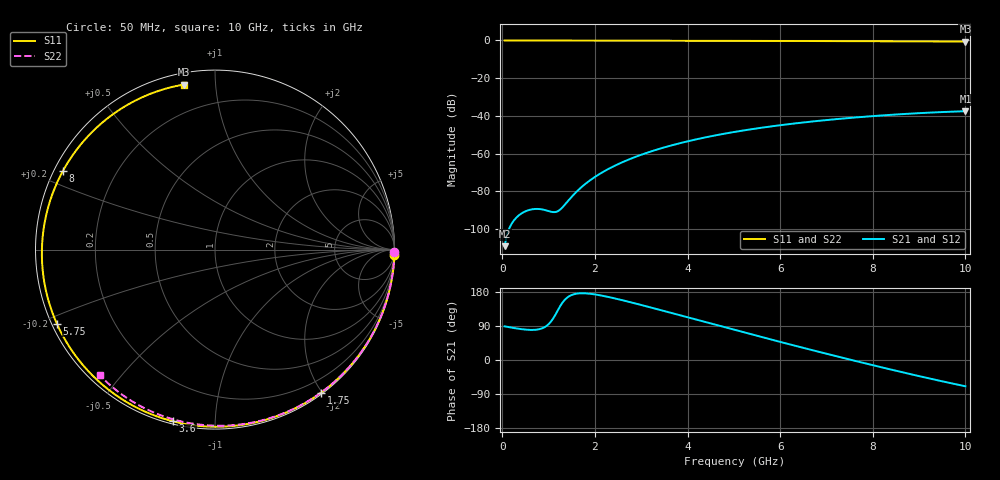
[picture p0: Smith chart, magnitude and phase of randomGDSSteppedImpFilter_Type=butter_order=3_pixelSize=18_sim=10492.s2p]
! freq	dB(S11)	phase(S11)	dB(S12)	phase(S12)
!  dB(S21)	phase(S21)	dB(S22)	phase(S22)
!S-par simulation data
#  GHz  S  DB  R 50
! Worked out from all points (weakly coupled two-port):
!   200 points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, 50 MHz to 10 GHz, reference 50 ohm
!   highest |S21| = -37.48 dB at 10 GHz (marker M1); lowest = -109.0 dB at 50 MHz (marker M2)
!   lowest |S11| = -0.6 dB at 10 GHz (marker M3), VSWR 30.21, Z = 2.79 + j41.4 ohm
!   |S11| at or under -10 dB: nowhere
!   |S22| runs from -0.4 to 0.0 dB; largest |S21 - S12| = 0
!   S11 on the Smith chart (normalised r, x): 50 MHz: 0, -72; 1.75 GHz: 0.02, -1.99; 3.6 GHz: 0.01, -0.79; 5.75 GHz: 0.01, -0.22; 8 GHz: 0.02, +0.24; 10 GHz: 0.06, +0.83
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0.05  -0.00 -1.6  -109.00 88.8  -109.00 88.8  -0.00 -0.8
0.4  -0.02 -12.5  -91.89 81.6  -91.89 81.6  -0.01 -6.1
0.8  -0.03 -24.9  -89.32 81.4  -89.32 81.4  -0.02 -12.2
1.2  -0.05 -37.1  -90.47 131.4  -90.47 131.4  -0.02 -18.2
1.6  -0.06 -49.1  -80.23 174.9  -80.23 174.9  -0.03 -24.2
1.75  -0.07 -53.4  -76.87 176.1  -76.87 176.1  -0.03 -26.4
2.05  -0.08 -62.1  -71.52 172.1  -71.52 172.1  -0.04 -30.9
2.45  -0.09 -73.3  -66.12 162.0  -66.12 162.0  -0.05 -36.7
2.9  -0.11 -85.5  -61.46 148.4  -61.46 148.4  -0.06 -43.2
3.4  -0.12 -98.6  -57.36 132.3  -57.36 132.3  -0.07 -50.3
3.6  -0.13 -103.7  -55.96 125.8  -55.96 125.8  -0.07 -53.1
4.3  -0.16 -121.0  -51.79 102.8  -51.79 102.8  -0.09 -62.7
5.05  -0.20 -138.8  -48.32 78.3  -48.32 78.3  -0.11 -72.8
5.75  -0.24 -154.9  -45.72 55.7  -45.72 55.7  -0.14 -81.9
6.25  -0.27 -166.4  -44.16 39.9  -44.16 39.9  -0.16 -88.2
6.7  -0.30 -176.7  -42.93 25.8  -42.93 25.8  -0.18 -93.8
7.35  -0.35 168.2  -41.38 5.8  -41.38 5.8  -0.22 -101.7
8  -0.41 152.7  -40.08 -13.7  -40.08 -13.7  -0.26 -109.4
8.35  -0.44 144.1  -39.47 -24.0  -39.47 -24.0  -0.29 -113.5
8.8  -0.48 132.8  -38.79 -36.9  -38.79 -36.9  -0.33 -118.8
9.25  -0.51 121.0  -38.21 -49.5  -38.21 -49.5  -0.37 -123.9
10  -0.58 100.6  -37.48 -69.4  -37.48 -69.4  -0.45 -132.5
